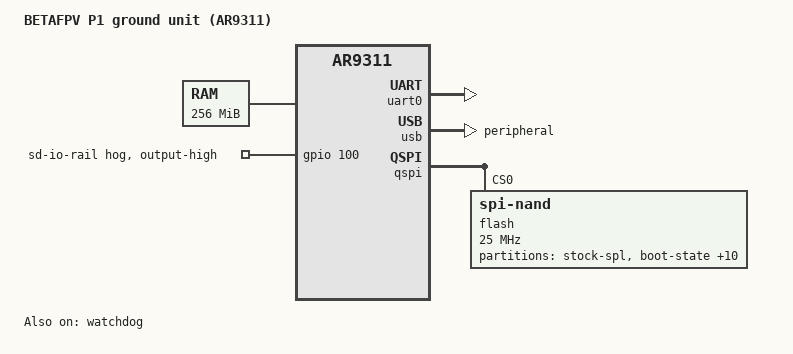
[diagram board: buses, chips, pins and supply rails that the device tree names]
// SPDX-License-Identifier: GPL-2.0-or-later
/* Any BETAFPV P1 ground unit, for the RAM recovery a stock unit is prepared
 * with: what the goggles and the Nano VRX have in common and the updater
 * needs - console, USB, the watchdog, the NAND with both banks - and nothing
 * of their screens, radio, SD card or keys.
 * Never installed: an install writes the tree of the unit's bundle.
 * Not run on hardware.
 */
/dts-v1/;
#include "ar9311.dtsi"

/ {
	model = "BETAFPV P1 ground unit (AR9311)";
	compatible = "betafpv,p1-gnd", "artosyn,proxima-9311";

	aliases {
		serial0 = &uart0;
	};
	chosen {
		stdout-path = "serial0:1152000n8";
		bootargs = "console=ttyS0,1152000 earlycon loglevel=7 mem=148M rdinit=/init";
	};

	/* The SPL reads this word at reset; bit 0 requests its USB loader. */
	reboot-scratch@a106138 {
		compatible = "syscon", "simple-mfd";
		reg = <0 0x0a106138 0 4>;
		reboot-mode {
			compatible = "syscon-reboot-mode";
			offset = <0>;
			mode-normal = <2>;
			mode-bootloader = <3>;
		};
	};

	/* Stock: 256 MiB DRAM, 148 MiB for Linux, the rest media. */
	memory@20000000 {
		device_type = "memory";
		reg = <0 0x20000000 0 0x10000000>;
	};
	reserved-memory {
		#address-cells = <2>;
		#size-cells = <2>;
		ranges;
		media@29400000 {
			reg = <0 0x29400000 0 0x06b00000>;
			no-map;
		};
		loader@2ff00000 {
			reg = <0 0x2ff00000 0 0x00100000>;
			no-map;
		};
	};
};

/* The stock SPL's secondary CPU handshake, as both units' trees have it. */
&cpu0 { enable-method = "ar-spin-table"; };
&cpu1 {
	enable-method = "ar-spin-table";
	cpu-release-addr = <0 0x00100000>;
};
&uart0 { status = "okay"; };
&usb {
	status = "okay";
	dr_mode = "peripheral";
};
&watchdog { status = "okay"; };

&gpio {
	status = "okay";
	/* GPIO100 is the SD I/O rail on both units, and the panel's on the
	 * goggles; stock keeps it high, and so does each unit's own tree.
	 */
	sd-io-rail-hog {
		gpio-hog;
		gpios = <100 GPIO_ACTIVE_HIGH>;
		output-high;
		line-name = "sd-io-rail";
	};
};

/* The NAND as both units' trees have it. */
&qspi_clock { status = "okay"; };
&qspi {
	status = "okay";
	clocks = <&qspi_clock>;
	flash@0 {
		compatible = "spi-nand";
		reg = <0>;
		spi-max-frequency = <25000000>;
		partitions {
			compatible = "fixed-partitions";
			#address-cells = <1>;
			#size-cells = <1>;
			partition@0 { label = "stock-spl"; reg = <0 0x100000>; read-only; };
			partition@100000 { label = "boot-state"; reg = <0x100000 0x80000>; };
			partition@180000 { label = "stock-vendor"; reg = <0x180000 0x80000>; read-only; };
			partition@200000 { label = "factory"; reg = <0x200000 0x600000>; read-only; };
			partition@800000 { label = "stock-bootloaders"; reg = <0x800000 0x240000>; read-only; };
			/* Both banks, under the stock names: an install picks the bank
			 * (fpvos-update: the one holding fpvOS, else the one not booted)
			 * and its checks, not the DT, keep the stock bank unwritten. */
			partition@a40000 { label = "kernel0"; reg = <0xa40000 0x600000>; };
			partition@1040000 { label = "kernel1"; reg = <0x1040000 0x600000>; };
			partition@1640000 { label = "dtb0"; reg = <0x1640000 0x60000>; };
			partition@16a0000 { label = "dtb1"; reg = <0x16a0000 0x60000>; };
			partition@1700000 { label = "userapp0"; reg = <0x1700000 0x2d00000>; };
			partition@4400000 { label = "userapp1"; reg = <0x4400000 0x2d00000>; };
			partition@7100000 { label = "usr_data"; reg = <0x7100000 0x600000>; };
		};
	};
};
